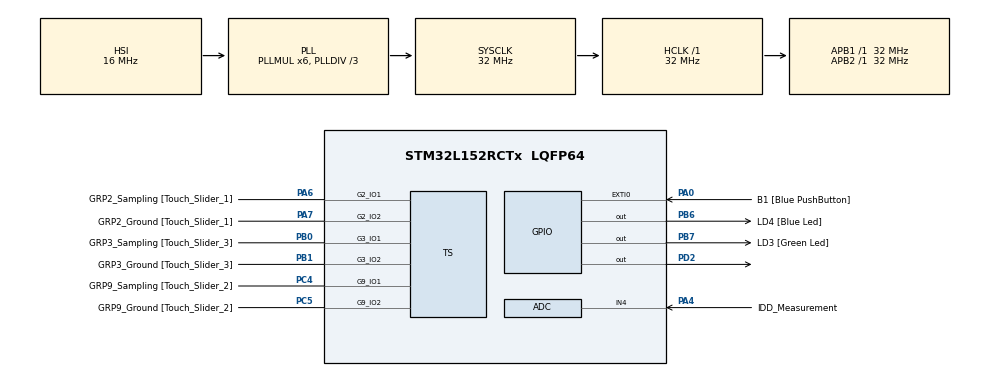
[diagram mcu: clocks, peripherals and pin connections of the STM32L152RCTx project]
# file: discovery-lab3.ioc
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ADC.Channel=ADC_CHANNEL_4
ADC.Channel-0\#ChannelRegularConversion=ADC_CHANNEL_4
ADC.Channel-IN4=ADC_CHANNEL_4
ADC.ExternalTrigConv=ADC_EXTERNALTRIGCONV_T2_CC3
ADC.ExternalTrigConv-0\#ChannelRegularConversion=ADC_SOFTWARE_START
ADC.ExternalTrigConvEdge=ADC_EXTERNALTRIGCONVEDGE_RISING
ADC.Rank-0\#ChannelRegularConversion=1
ADC.SamplingTime-0\#ChannelRegularConversion=ADC_SAMPLETIME_4CYCLES
Mcu.Family=STM32L1
Mcu.Name=STM32L152RCTx
Mcu.Package=LQFP64
NVIC.PriorityGroup=NVIC_PRIORITYGROUP_0
PA0-WKUP1.GPIO_Label=B1 [Blue PushButton]
PA0-WKUP1.GPIO_ModeDefaultEXTI=GPIO_MODE_EVT_RISING
PA0-WKUP1.GPIO_PuPd=GPIO_NOPULL
PA0-WKUP1.Signal=GPXTI0
PA1.GPIO_Label=SEG0 [GH08172T_SEG0]
PA1.GPIO_Mode=GPIO_MODE_AF_PP
PA1.GPIO_PuPd=GPIO_NOPULL
PA1.GPIO_Speed=GPIO_SPEED_FREQ_LOW
PA1.Signal=LCD_SEG0
PA10.GPIO_Label=COM2 [GH08172T_COM2]
PA10.GPIO_Mode=GPIO_MODE_AF_PP
PA10.GPIO_PuPd=GPIO_NOPULL
PA10.GPIO_Speed=GPIO_SPEED_FREQ_LOW
PA10.Signal=LCD_COM2
PA13.GPIO_Label=SWDIO
PA13.Mode=Serial_Wire
PA13.Signal=SYS_JTMS-SWDIO
PA14.GPIO_Label=SWCLK
PA14.Mode=Serial_Wire
PA14.Signal=SYS_JTCK-SWCLK
PA15.GPIO_Label=SEG12 [GH08172T_SEG12]
PA15.GPIO_Mode=GPIO_MODE_AF_PP
PA15.GPIO_PuPd=GPIO_NOPULL
PA15.GPIO_Speed=GPIO_SPEED_FREQ_LOW
PA15.Signal=LCD_SEG17
PA2.GPIO_Label=SEG1 [GH08172T_SEG1]
PA2.GPIO_Mode=GPIO_MODE_AF_PP
PA2.GPIO_PuPd=GPIO_NOPULL
PA2.GPIO_Speed=GPIO_SPEED_FREQ_LOW
PA2.Signal=LCD_SEG1
PA3.GPIO_Label=SEG2 [GH08172T_SEG2]
PA3.GPIO_Mode=GPIO_MODE_AF_PP
PA3.GPIO_PuPd=GPIO_NOPULL
PA3.GPIO_Speed=GPIO_SPEED_FREQ_LOW
PA3.Signal=LCD_SEG2
PA4.GPIO_Label=IDD_Measurement
PA4.GPIO_Mode=GPIO_MODE_ANALOG
PA4.GPIO_PuPd=GPIO_NOPULL
PA4.Mode=IN4
PA4.Signal=ADC_IN4
PA6.GPIO_Label=GRP2_Sampling [Touch_Slider_1]
PA6.Mode=G2_IO1-Sampling
PA6.Signal=TS_G2_IO1
PA7.GPIO_Label=GRP2_Ground [Touch_Slider_1]
PA7.Mode=G2_IO2-Channel
PA7.Signal=TS_G2_IO2
PA8.GPIO_Label=COM0 [GH08172T_COM0]
PA8.GPIO_Mode=GPIO_MODE_AF_PP
PA8.GPIO_PuPd=GPIO_NOPULL
PA8.GPIO_Speed=GPIO_SPEED_FREQ_LOW
PA8.Signal=LCD_COM0
PA9.GPIO_Label=COM1 [GH08172T_COM1]
PA9.GPIO_Mode=GPIO_MODE_AF_PP
PA9.GPIO_PuPd=GPIO_NOPULL
PA9.GPIO_Speed=GPIO_SPEED_FREQ_LOW
PA9.Signal=LCD_COM1
PB0.GPIO_Label=GRP3_Sampling [Touch_Slider_3]
PB0.Mode=G3_IO1-Sampling
PB0.Signal=TS_G3_IO1
PB1.GPIO_Label=GRP3_Ground [Touch_Slider_3]
PB1.Mode=G3_IO2-Channel
PB1.Signal=TS_G3_IO2
PB10.GPIO_Label=SEG6 [GH08172T_SEG6]
PB10.GPIO_Mode=GPIO_MODE_AF_PP
PB10.GPIO_PuPd=GPIO_NOPULL
PB10.GPIO_Speed=GPIO_SPEED_FREQ_LOW
PB10.Signal=LCD_SEG10
PB11.GPIO_Label=SEG7 [GH08172T_SEG7]
PB11.GPIO_Mode=GPIO_MODE_AF_PP
PB11.GPIO_PuPd=GPIO_NOPULL
PB11.GPIO_Speed=GPIO_SPEED_FREQ_LOW
PB11.Signal=LCD_SEG11
PB12.GPIO_Label=SEG8 [GH08172T_SEG8]
PB12.GPIO_Mode=GPIO_MODE_AF_PP
PB12.GPIO_PuPd=GPIO_NOPULL
PB12.GPIO_Speed=GPIO_SPEED_FREQ_LOW
PB12.Signal=LCD_SEG12
PB13.GPIO_Label=SEG9 [GH08172T_SEG9]
PB13.GPIO_Mode=GPIO_MODE_AF_PP
PB13.GPIO_PuPd=GPIO_NOPULL
PB13.GPIO_Speed=GPIO_SPEED_FREQ_LOW
PB13.Signal=LCD_SEG13
PB14.GPIO_Label=SEG10 [GH08172T_SEG10]
PB14.GPIO_Mode=GPIO_MODE_AF_PP
PB14.GPIO_PuPd=GPIO_NOPULL
PB14.GPIO_Speed=GPIO_SPEED_FREQ_LOW
PB14.Signal=LCD_SEG14
PB15.GPIO_Label=SEG11 [GH08172T_SEG11]
PB15.GPIO_Mode=GPIO_MODE_AF_PP
PB15.GPIO_PuPd=GPIO_NOPULL
PB15.GPIO_Speed=GPIO_SPEED_FREQ_LOW
PB15.Signal=LCD_SEG15
PB3.GPIO_Label=SEG3 [GH08172T_SEG3]
PB3.GPIO_Mode=GPIO_MODE_AF_PP
PB3.GPIO_PuPd=GPIO_NOPULL
PB3.GPIO_Speed=GPIO_SPEED_FREQ_LOW
PB3.Signal=LCD_SEG7
PB4.GPIO_Label=SEG4 [GH08172T_SEG4]
PB4.GPIO_Mode=GPIO_MODE_AF_PP
PB4.GPIO_PuPd=GPIO_NOPULL
PB4.GPIO_Speed=GPIO_SPEED_FREQ_LOW
PB4.Signal=LCD_SEG8
PB5.GPIO_Label=SEG5 [GH08172T_SEG5]
PB5.GPIO_Mode=GPIO_MODE_AF_PP
PB5.GPIO_PuPd=GPIO_NOPULL
PB5.GPIO_Speed=GPIO_SPEED_FREQ_LOW
PB5.Signal=LCD_SEG9
PB6.GPIO_Label=LD4 [Blue Led]
PB6.GPIO_ModeDefaultOutputPP=GPIO_MODE_OUTPUT_PP
PB6.GPIO_PuPd=GPIO_NOPULL
PB6.GPIO_Speed=GPIO_SPEED_FREQ_LOW
PB6.Signal=GPIO_Output
PB7.GPIO_Label=LD3 [Green Led]
PB7.GPIO_ModeDefaultOutputPP=GPIO_MODE_OUTPUT_PP
PB7.GPIO_PuPd=GPIO_NOPULL
PB7.GPIO_Speed=GPIO_SPEED_FREQ_LOW
PB7.Signal=GPIO_Output
PB8.GPIO_Label=SEG13 [GH08172T_SEG13]
PB8.GPIO_Mode=GPIO_MODE_AF_PP
PB8.GPIO_PuPd=GPIO_NOPULL
PB8.GPIO_Speed=GPIO_SPEED_FREQ_LOW
PB8.Signal=LCD_SEG16
PB9.GPIO_Label=COM3 [GH08172T_COM3]
PB9.GPIO_Mode=GPIO_MODE_AF_PP
PB9.GPIO_PuPd=GPIO_NOPULL
PB9.GPIO_Speed=GPIO_SPEED_FREQ_LOW
PB9.Signal=LCD_COM3
PC0.GPIO_Label=SEG14 [GH08172T_SEG14]
PC0.GPIO_Mode=GPIO_MODE_AF_PP
PC0.GPIO_PuPd=GPIO_NOPULL
PC0.GPIO_Speed=GPIO_SPEED_FREQ_LOW
PC0.Signal=LCD_SEG18
PC1.GPIO_Label=SEG15 [GH08172T_SEG15]
PC1.GPIO_Mode=GPIO_MODE_AF_PP
PC1.GPIO_PuPd=GPIO_NOPULL
PC1.GPIO_Speed=GPIO_SPEED_FREQ_LOW
PC1.Signal=LCD_SEG19
PC10.GPIO_Label=SEG22 [GH08172T_SEG22]
PC10.GPIO_Mode=GPIO_MODE_AF_PP
PC10.GPIO_PuPd=GPIO_NOPULL
PC10.GPIO_Speed=GPIO_SPEED_FREQ_LOW
PC10.Signal=LCD_SEG28
PC11.GPIO_Label=SEG23 [GH08172T_SEG23]
PC11.GPIO_Mode=GPIO_MODE_AF_PP
PC11.GPIO_PuPd=GPIO_NOPULL
PC11.GPIO_Speed=GPIO_SPEED_FREQ_LOW
PC11.Signal=LCD_SEG29
PC14-OSC32_IN.GPIO_Label=PC14-OSC32_IN
PC14-OSC32_IN.Mode=LSE-External-Oscillator
PC14-OSC32_IN.Signal=RCC_OSC32_IN
PC15-OSC32_OUT.GPIO_Label=PC15-OSC32_OUT
PC15-OSC32_OUT.Mode=LSE-External-Oscillator
PC15-OSC32_OUT.Signal=RCC_OSC32_OUT
PC2.GPIO_Label=SEG16 [GH08172T_SEG16]
PC2.GPIO_Mode=GPIO_MODE_AF_PP
PC2.GPIO_PuPd=GPIO_NOPULL
PC2.GPIO_Speed=GPIO_SPEED_FREQ_LOW
PC2.Signal=LCD_SEG20
PC3.GPIO_Label=SEG17 [GH08172T_SEG17]
PC3.GPIO_Mode=GPIO_MODE_AF_PP
PC3.GPIO_PuPd=GPIO_NOPULL
PC3.GPIO_Speed=GPIO_SPEED_FREQ_LOW
PC3.Signal=LCD_SEG21
PC4.GPIO_Label=GRP9_Sampling [Touch_Slider_2]
PC4.Mode=G9_IO1-Sampling
PC4.Signal=TS_G9_IO1
PC5.GPIO_Label=GRP9_Ground [Touch_Slider_2]
PC5.Mode=G9_IO2-Channel
PC5.Signal=TS_G9_IO2
PC6.GPIO_Label=SEG18 [GH08172T_SEG18]
PC6.GPIO_Mode=GPIO_MODE_AF_PP
PC6.GPIO_PuPd=GPIO_NOPULL
PC6.GPIO_Speed=GPIO_SPEED_FREQ_LOW
PC6.Signal=LCD_SEG24
PC7.GPIO_Label=SEG19 [GH08172T_SEG19]
PC7.GPIO_Mode=GPIO_MODE_AF_PP
PC7.GPIO_PuPd=GPIO_NOPULL
PC7.GPIO_Speed=GPIO_SPEED_FREQ_LOW
PC7.Signal=LCD_SEG25
PC8.GPIO_Label=SEG20 [GH08172T_SEG20]
PC8.GPIO_Mode=GPIO_MODE_AF_PP
PC8.GPIO_PuPd=GPIO_NOPULL
PC8.GPIO_Speed=GPIO_SPEED_FREQ_LOW
PC8.Signal=LCD_SEG26
PC9.GPIO_Label=SEG21 [GH08172T_SEG21]
PC9.GPIO_Mode=GPIO_MODE_AF_PP
PC9.GPIO_PuPd=GPIO_NOPULL
PC9.GPIO_Speed=GPIO_SPEED_FREQ_LOW
PC9.Signal=LCD_SEG27
PD2.Signal=GPIO_Output
ProjectManager.HeapSize=0x200
ProjectManager.StackSize=0x400
ProjectManager.TargetToolchain=STM32CubeIDE
RCC.48MHZClocksFreq_Value=48000000
RCC.AHBFreq_Value=32000000
RCC.APB1Freq_Value=32000000
RCC.APB1TimFreq_Value=32000000
RCC.APB2Freq_Value=32000000
RCC.APB2TimFreq_Value=32000000
RCC.HCLKFreq_Value=32000000
RCC.HSE_VALUE=8000000
RCC.HSI_VALUE=16000000
RCC.MSI_VALUE=2097000
RCC.PLLDIV=RCC_PLL_DIV3
RCC.PLLMUL=RCC_PLL_MUL6
RCC.RTCClockSelectionVirtual=RCC_RTCCLKSOURCE_LSE
RCC.SYSCLKFreq_VALUE=32000000
RCC.SYSCLKSource=RCC_SYSCLKSOURCE_PLLCLK
RCC.USBOutput=48000000
RCC.VCOOutputFreq_Value=96000000
TS.SamplingIOs-G2_IO1=TSC_GROUP2_IO1
TS.SamplingIOs-G3_IO1=TSC_GROUP3_IO1
TS.SamplingIOs-G9_IO1=TSC_GROUP9_IO1
VP_TIM2_VS_ClockSourceINT.Mode=Internal
VP_TIM3_VS_ClockSourceINT.Mode=Internal
VP_TIM4_VS_ClockSourceINT.Mode=Internal
board=STM32L152C-DISCO

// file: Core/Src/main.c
/* USER CODE BEGIN Header */
/**
 ******************************************************************************
 * @file           : main.c
 * @brief          : Main program body
 ******************************************************************************
 * @attention
 *
 * Copyright (c) 2023 STMicroelectronics.
 * All rights reserved.
 *
 * This software is licensed under terms that can be found in the LICENSE file
 * in the root directory of this software component.
 * If no LICENSE file comes with this software, it is provided AS-IS.
 *
 ******************************************************************************
 */
/* USER CODE END Header */
#include "main.h"

/* USER CODE BEGIN Includes */
#include <stdio.h>

/* USER CODE END Includes */

ADC_HandleTypeDef hadc;

TIM_HandleTypeDef htim2;
TIM_HandleTypeDef htim3;
TIM_HandleTypeDef htim4;

void SystemClock_Config(void);
static void MX_GPIO_Init(void);
static void MX_ADC_Init(void);
static void MX_TS_Init(void);
static void MX_TIM3_Init(void);
static void MX_TIM2_Init(void);
static void MX_TIM4_Init(void);

/* USER CODE BEGIN 0 */

void TIM3_IRQHandler(void) {
  if ((TIM3->SR & (1 << 1)) != 0) {
    if (g_robot.delay == DELAY_START) {
      g_robot.delay = DELAY_WAITING;
    } else if (g_robot.delay == DELAY_WAITING) {
      g_robot.delay = DELAY_OFF;
    }

    updateMaxSpeed();

    TIM3->SR &= ~(1 << 1);

  } else if ((TIM3->SR & (1 << 2)) != 0) {
    if (g_robot.ultrasound->status == ULTRASOUND_STOPPED) {
      g_robot.ultrasound->status = ULTRASOUND_TRIGGER_START;
      TIM2->EGR |= (1 << 2); // UG = 1 -> Send channel 2 update event to enable trigger
    }

    TIM3->CCR2 = TIM3->CNT + 50;
    if (TIM3->CCR2 > TIM3->ARR) {
      TIM3->CCR2 = TIM3->CCR2 - TIM3->ARR; // Handle counter overflows
    }
    TIM3->SR &= ~(1 << 2);
  } else if ((TIM3->SR & (1 << 3)) != 0) {

    if (g_robot.buzzer->status == BUZZER_BEEPING) {
      toggleGPIOPin(g_robot.buzzer->gpio_pin);
    }

//    TIM3->CCR3 = TIM3->CNT + 2250;
//    if (TIM3->CCR2 > TIM3->ARR) {
//      TIM3->CCR3 = TIM3->CCR3 - TIM3->ARR; // Handle counter overflows
//    }
    TIM3->SR &= ~(1 << 3);

  }
}

void TIM2_IRQHandler(void) {
  if ((TIM2->SR & (1 << 1)) != 0) { // Channel 1
    // ------------- Echo Timer -----------------------
    if (g_robot.ultrasound->status == ULTRASOUND_TRIGGER_SENT) {
      g_robot.ultrasound->time_init = TIM2->CCR1;
      g_robot.ultrasound->status = ULTRASOUND_MEASURING;

    } else if(g_robot.ultrasound->status == ULTRASOUND_MEASURING) {
      int delay = TIM2->CCR1 - g_robot.ultrasound->time_init;
      if (delay < 0) {
        delay += 0xFFFF; // Handle counter overflows
      }
      int distance = ((delay) * 0.034) / 2;
      if (g_robot.ultrasound->distance != distance) {
        g_robot.ultrasound->distance = distance;
        updateBuzzer();
      }

      g_robot.ultrasound->status = ULTRASOUND_STOPPED;
    }

    TIM2->SR &= ~(1 << 1);

  } else if ((TIM2->SR & (1 << 2)) != 0) { // Channel 2
    // ------------- Trigger Timer -----------------------
    if (g_robot.ultrasound->status == ULTRASOUND_TRIGGER_START) {
      updateStatusGPIOPin(g_robot.ultrasound->trigger, GPIO_PIN_UP);
      TIM2->CCR2 = TIM2->CNT + 10;
      g_robot.ultrasound->status = ULTRASOUND_TRIGGER_ON;

    } else if (g_robot.ultrasound->status == ULTRASOUND_TRIGGER_ON) {
      updateStatusGPIOPin(g_robot.ultrasound->trigger, GPIO_PIN_DOWN);
      g_robot.ultrasound->status = ULTRASOUND_TRIGGER_SENT;
    }

    TIM2->SR = ~(1 << 2); // Clear flags
  }
}

/* USER CODE END 0 */

int main(void)
{

  /* MCU Configuration--------------------------------------------------------*/

  /* Reset of all peripherals, Initializes the Flash interface and the Systick. */
  HAL_Init();

  /* Configure the system clock */
  SystemClock_Config();

  /* Initialize all configured peripherals */
  MX_GPIO_Init();
  MX_ADC_Init();
  MX_TS_Init();
  MX_TIM3_Init();
  MX_TIM2_Init();
  MX_TIM4_Init();
  /* USER CODE BEGIN 2 */
  createRobot();

  /* USER CODE END 2 */

  /* Infinite loop */
  /* USER CODE BEGIN WHILE */
  while (1) {
    switch(g_robot.status_obstacle) {
    case OBSTACLE_NONE:
      if (g_robot.ultrasound->distance < 10) {
        g_robot.status_obstacle = OBSTACLE_IN_FRONT;
      }
      break;

    case OBSTACLE_IN_FRONT:
      g_robot.status_obstacle = OBSTACLE_RIGHT;
      break;

    case OBSTACLE_RIGHT:
      g_robot.status_obstacle = OBSTACLE_RIGHT_MEASURE;
      break;

    case OBSTACLE_RIGHT_MEASURE:
      if (g_robot.ultrasound->distance > 20) {
        g_robot.status_obstacle = OBSTACLE_NONE;
      } else {
        g_robot.status_obstacle = OBSTACLE_RIGHT_BACK;
      }
      break;

    case OBSTACLE_RIGHT_BACK:
      g_robot.status_obstacle = OBSTACLE_LEFT;
      break;

    case OBSTACLE_LEFT:
      g_robot.status_obstacle = OBSTACLE_LEFT_MEASURE;
      break;

    case OBSTACLE_LEFT_MEASURE:
      if (g_robot.ultrasound->distance > 20) {
        g_robot.status_obstacle = OBSTACLE_NONE;
      } else {
        g_robot.status_obstacle = OBSTACLE_LEFT_BACK;
      }
      break;

    case OBSTACLE_LEFT_BACK:
      g_robot.status_obstacle = OBSTACLE_NONE;
      break;
    }

    updateRobot();

    /* USER CODE END WHILE */

  }
}

void SystemClock_Config(void)
{
  RCC_OscInitTypeDef RCC_OscInitStruct = {0};
  RCC_ClkInitTypeDef RCC_ClkInitStruct = {0};

  /** Configure the main internal regulator output voltage
  */
  __HAL_PWR_VOLTAGESCALING_CONFIG(PWR_REGULATOR_VOLTAGE_SCALE1);

  /** Initializes the RCC Oscillators according to the specified parameters
  * in the RCC_OscInitTypeDef structure.
  */
  RCC_OscInitStruct.OscillatorType = RCC_OSCILLATORTYPE_HSI;
  RCC_OscInitStruct.HSIState = RCC_HSI_ON;
  RCC_OscInitStruct.HSICalibrationValue = RCC_HSICALIBRATION_DEFAULT;
  RCC_OscInitStruct.PLL.PLLState = RCC_PLL_ON;
  RCC_OscInitStruct.PLL.PLLSource = RCC_PLLSOURCE_HSI;
  RCC_OscInitStruct.PLL.PLLMUL = RCC_PLL_MUL6;
  RCC_OscInitStruct.PLL.PLLDIV = RCC_PLL_DIV3;
  if (HAL_RCC_OscConfig(&RCC_OscInitStruct) != HAL_OK)
  {
    Error_Handler();
  }

  /** Initializes the CPU, AHB and APB buses clocks
  */
  RCC_ClkInitStruct.ClockType = RCC_CLOCKTYPE_HCLK|RCC_CLOCKTYPE_SYSCLK
                              |RCC_CLOCKTYPE_PCLK1|RCC_CLOCKTYPE_PCLK2;
  RCC_ClkInitStruct.SYSCLKSource = RCC_SYSCLKSOURCE_PLLCLK;
  RCC_ClkInitStruct.AHBCLKDivider = RCC_SYSCLK_DIV1;
  RCC_ClkInitStruct.APB1CLKDivider = RCC_HCLK_DIV1;
  RCC_ClkInitStruct.APB2CLKDivider = RCC_HCLK_DIV1;

  if (HAL_RCC_ClockConfig(&RCC_ClkInitStruct, FLASH_LATENCY_1) != HAL_OK)
  {
    Error_Handler();
  }
}

static void MX_ADC_Init(void)
{

  ADC_ChannelConfTypeDef sConfig = {0};

  /** Configure the global features of the ADC (Clock, Resolution, Data Alignment and number of conversion)
  */
  hadc.Instance = ADC1;
  hadc.Init.ClockPrescaler = ADC_CLOCK_ASYNC_DIV1;
  hadc.Init.Resolution = ADC_RESOLUTION_12B;
  hadc.Init.DataAlign = ADC_DATAALIGN_RIGHT;
  hadc.Init.ScanConvMode = ADC_SCAN_DISABLE;
  hadc.Init.EOCSelection = ADC_EOC_SEQ_CONV;
  hadc.Init.LowPowerAutoWait = ADC_AUTOWAIT_DISABLE;
  hadc.Init.LowPowerAutoPowerOff = ADC_AUTOPOWEROFF_DISABLE;
  hadc.Init.ChannelsBank = ADC_CHANNELS_BANK_A;
  hadc.Init.ContinuousConvMode = DISABLE;
  hadc.Init.NbrOfConversion = 1;
  hadc.Init.DiscontinuousConvMode = DISABLE;
  hadc.Init.ExternalTrigConv = ADC_EXTERNALTRIGCONV_T2_CC3;
  hadc.Init.ExternalTrigConvEdge = ADC_EXTERNALTRIGCONVEDGE_RISING;
  hadc.Init.DMAContinuousRequests = DISABLE;
  if (HAL_ADC_Init(&hadc) != HAL_OK)
  {
    Error_Handler();
  }

  /** Configure for the selected ADC regular channel its corresponding rank in the sequencer and its sample time.
  */
  sConfig.Channel = ADC_CHANNEL_4;
  sConfig.Rank = ADC_REGULAR_RANK_1;
  sConfig.SamplingTime = ADC_SAMPLETIME_4CYCLES;
  if (HAL_ADC_ConfigChannel(&hadc, &sConfig) != HAL_OK)
  {
    Error_Handler();
  }

}

static void MX_TIM2_Init(void)
{

  TIM_ClockConfigTypeDef sClockSourceConfig = {0};
  TIM_MasterConfigTypeDef sMasterConfig = {0};

  htim2.Instance = TIM2;
  htim2.Init.Prescaler = 0;
  htim2.Init.CounterMode = TIM_COUNTERMODE_UP;
  htim2.Init.Period = 65535;
  htim2.Init.ClockDivision = TIM_CLOCKDIVISION_DIV1;
  htim2.Init.AutoReloadPreload = TIM_AUTORELOAD_PRELOAD_DISABLE;
  if (HAL_TIM_Base_Init(&htim2) != HAL_OK)
  {
    Error_Handler();
  }
  sClockSourceConfig.ClockSource = TIM_CLOCKSOURCE_INTERNAL;
  if (HAL_TIM_ConfigClockSource(&htim2, &sClockSourceConfig) != HAL_OK)
  {
    Error_Handler();
  }
  sMasterConfig.MasterOutputTrigger = TIM_TRGO_RESET;
  sMasterConfig.MasterSlaveMode = TIM_MASTERSLAVEMODE_DISABLE;
  if (HAL_TIMEx_MasterConfigSynchronization(&htim2, &sMasterConfig) != HAL_OK)
  {
    Error_Handler();
  }

}

static void MX_TIM3_Init(void)
{

  TIM_ClockConfigTypeDef sClockSourceConfig = {0};
  TIM_MasterConfigTypeDef sMasterConfig = {0};

  htim3.Instance = TIM3;
  htim3.Init.Prescaler = 0;
  htim3.Init.CounterMode = TIM_COUNTERMODE_UP;
  htim3.Init.Period = 65535;
  htim3.Init.ClockDivision = TIM_CLOCKDIVISION_DIV1;
  htim3.Init.AutoReloadPreload = TIM_AUTORELOAD_PRELOAD_DISABLE;
  if (HAL_TIM_Base_Init(&htim3) != HAL_OK)
  {
    Error_Handler();
  }
  sClockSourceConfig.ClockSource = TIM_CLOCKSOURCE_INTERNAL;
  if (HAL_TIM_ConfigClockSource(&htim3, &sClockSourceConfig) != HAL_OK)
  {
    Error_Handler();
  }
  sMasterConfig.MasterOutputTrigger = TIM_TRGO_RESET;
  sMasterConfig.MasterSlaveMode = TIM_MASTERSLAVEMODE_DISABLE;
  if (HAL_TIMEx_MasterConfigSynchronization(&htim3, &sMasterConfig) != HAL_OK)
  {
    Error_Handler();
  }

}

static void MX_TIM4_Init(void)
{

  TIM_ClockConfigTypeDef sClockSourceConfig = {0};
  TIM_MasterConfigTypeDef sMasterConfig = {0};

  htim4.Instance = TIM4;
  htim4.Init.Prescaler = 0;
  htim4.Init.CounterMode = TIM_COUNTERMODE_UP;
  htim4.Init.Period = 65535;
  htim4.Init.ClockDivision = TIM_CLOCKDIVISION_DIV1;
  htim4.Init.AutoReloadPreload = TIM_AUTORELOAD_PRELOAD_DISABLE;
  if (HAL_TIM_Base_Init(&htim4) != HAL_OK)
  {
    Error_Handler();
  }
  sClockSourceConfig.ClockSource = TIM_CLOCKSOURCE_INTERNAL;
  if (HAL_TIM_ConfigClockSource(&htim4, &sClockSourceConfig) != HAL_OK)
  {
    Error_Handler();
  }
  sMasterConfig.MasterOutputTrigger = TIM_TRGO_RESET;
  sMasterConfig.MasterSlaveMode = TIM_MASTERSLAVEMODE_DISABLE;
  if (HAL_TIMEx_MasterConfigSynchronization(&htim4, &sMasterConfig) != HAL_OK)
  {
    Error_Handler();
  }

}

static void MX_TS_Init(void)
{

}

static void MX_GPIO_Init(void)
{
  GPIO_InitTypeDef GPIO_InitStruct = {0};

  /* GPIO Ports Clock Enable */
  __HAL_RCC_GPIOC_CLK_ENABLE();
  __HAL_RCC_GPIOA_CLK_ENABLE();
  __HAL_RCC_GPIOB_CLK_ENABLE();
  __HAL_RCC_GPIOD_CLK_ENABLE();

  /*Configure GPIO pin Output Level */
  HAL_GPIO_WritePin(GPIOD, GPIO_PIN_2, GPIO_PIN_RESET);

  /*Configure GPIO pin Output Level */
  HAL_GPIO_WritePin(GPIOB, LD4_Pin|LD3_Pin, GPIO_PIN_RESET);

  /*Configure GPIO pins : SEG14_Pin SEG15_Pin SEG16_Pin SEG17_Pin
                           SEG18_Pin SEG19_Pin SEG20_Pin SEG21_Pin
                           SEG22_Pin SEG23_Pin */
  GPIO_InitStruct.Pin = SEG14_Pin|SEG15_Pin|SEG16_Pin|SEG17_Pin
                          |SEG18_Pin|SEG19_Pin|SEG20_Pin|SEG21_Pin
                          |SEG22_Pin|SEG23_Pin;
  GPIO_InitStruct.Mode = GPIO_MODE_AF_PP;
  GPIO_InitStruct.Pull = GPIO_NOPULL;
  GPIO_InitStruct.Speed = GPIO_SPEED_FREQ_LOW;
  GPIO_InitStruct.Alternate = GPIO_AF11_LCD;
  HAL_GPIO_Init(GPIOC, &GPIO_InitStruct);

  /*Configure GPIO pin : B1_Pin */
  GPIO_InitStruct.Pin = B1_Pin;
  GPIO_InitStruct.Mode = GPIO_MODE_EVT_RISING;
  GPIO_InitStruct.Pull = GPIO_NOPULL;
  HAL_GPIO_Init(B1_GPIO_Port, &GPIO_InitStruct);

  /*Configure GPIO pins : SEG0_Pin SEG1_Pin SEG2_Pin COM0_Pin
                           COM1_Pin COM2_Pin SEG12_Pin */
  GPIO_InitStruct.Pin = SEG0_Pin|SEG1_Pin|SEG2_Pin|COM0_Pin
                          |COM1_Pin|COM2_Pin|SEG12_Pin;
  GPIO_InitStruct.Mode = GPIO_MODE_AF_PP;
  GPIO_InitStruct.Pull = GPIO_NOPULL;
  GPIO_InitStruct.Speed = GPIO_SPEED_FREQ_LOW;
  GPIO_InitStruct.Alternate = GPIO_AF11_LCD;
  HAL_GPIO_Init(GPIOA, &GPIO_InitStruct);

  /*Configure GPIO pins : SEG6_Pin SEG7_Pin SEG8_Pin SEG9_Pin
                           SEG10_Pin SEG11_Pin SEG3_Pin SEG4_Pin
                           SEG5_Pin SEG13_Pin COM3_Pin */
  GPIO_InitStruct.Pin = SEG6_Pin|SEG7_Pin|SEG8_Pin|SEG9_Pin
                          |SEG10_Pin|SEG11_Pin|SEG3_Pin|SEG4_Pin
                          |SEG5_Pin|SEG13_Pin|COM3_Pin;
  GPIO_InitStruct.Mode = GPIO_MODE_AF_PP;
  GPIO_InitStruct.Pull = GPIO_NOPULL;
  GPIO_InitStruct.Speed = GPIO_SPEED_FREQ_LOW;
  GPIO_InitStruct.Alternate = GPIO_AF11_LCD;
  HAL_GPIO_Init(GPIOB, &GPIO_InitStruct);

  /*Configure GPIO pin : PD2 */
  GPIO_InitStruct.Pin = GPIO_PIN_2;
  GPIO_InitStruct.Mode = GPIO_MODE_OUTPUT_PP;
  GPIO_InitStruct.Pull = GPIO_NOPULL;
  GPIO_InitStruct.Speed = GPIO_SPEED_FREQ_LOW;
  HAL_GPIO_Init(GPIOD, &GPIO_InitStruct);

  /*Configure GPIO pins : LD4_Pin LD3_Pin */
  GPIO_InitStruct.Pin = LD4_Pin|LD3_Pin;
  GPIO_InitStruct.Mode = GPIO_MODE_OUTPUT_PP;
  GPIO_InitStruct.Pull = GPIO_NOPULL;
  GPIO_InitStruct.Speed = GPIO_SPEED_FREQ_LOW;
  HAL_GPIO_Init(GPIOB, &GPIO_InitStruct);

}

void Error_Handler(void)
{
  __disable_irq();
  while (1) {
  }
}

#ifdef  USE_FULL_ASSERT
/**
  * @brief  Reports the name of the source file and the source line number
  *         where the assert_param error has occurred.
  * @param  file: pointer to the source file name
  * @param  line: assert_param error line source number
  * @retval None
  */
void assert_failed(uint8_t *file, uint32_t line)
{
  /* USER CODE BEGIN 6 */
  /* User can add his own implementation to report the file name and line
     number, ex: printf("Wrong parameters value: file %s on line %d\r\n", file,
     line) */
  /* USER CODE END 6 */
}
#endif /* USE_FULL_ASSERT */
